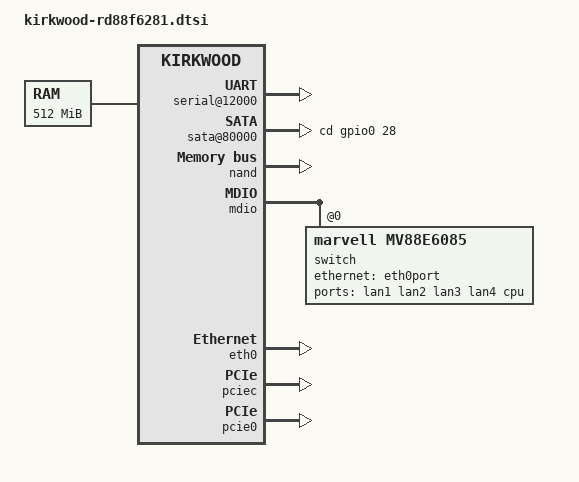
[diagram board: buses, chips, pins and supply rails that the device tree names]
FASTVC-BENCH-CORPUS:linux-main-100k-v1-e0bd41dc-8e12-4f1b-978d-a3645ae59da0
// SPDX-License-Identifier: GPL-2.0
/*
 * Marvell RD88F6181 Common Board descrition
 *
 * Andrew Lunn <andrew@lunn.ch>
 *
 * This file contains the definitions that are common between the two
 * variants of the Marvell Kirkwood Development Board.
 */

#include "kirkwood.dtsi"
#include "kirkwood-6281.dtsi"

/ {
	memory {
		device_type = "memory";
		reg = <0x00000000 0x20000000>;
	};

	chosen {
		bootargs = "console=ttyS0,115200n8";
		stdout-path = &uart0;
	};

	ocp@f1000000 {
		pinctrl: pin-controller@10000 {
			pinctrl-names = "default";

			pmx_sdio_cd: pmx-sdio-cd {
				marvell,pins = "mpp28";
				marvell,function = "gpio";
			};
		};

		serial@12000 {
			status = "okay";

		};

		sata@80000 {
			status = "okay";
			nr-ports = <2>;
/* bench 363.0.0 c8e7c9d068f0 */
/* bench 363.0.1 f1c37b679b56 */
/* bench 363.0.2 ec1a110f12a5 */
/* bench 363.0.3 cc6ca9ac6cec */
/* bench 363.0.4 0fc9b2152e71 */
/* bench 363.0.5 101164cb9440 */
/* bench 363.0.6 b6067dfc5f4d */
			pinctrl-names = "default";
			status = "okay";
			cd-gpios = <&gpio0 28 GPIO_ACTIVE_HIGH>;
			/* No WP GPIO */
		};
       };
};

&nand {
	status = "okay";

	partition@0 {
		label = "u-boot";
		reg = <0x0000000 0x100000>;
		read-only;
	};

	partition@100000 {
		label = "uImage";
		reg = <0x0100000 0x200000>;
	};

	partition@300000 {
		label = "rootfs";
		reg = <0x0300000 0x500000>;
	};
};

&mdio {
	status = "okay";

	switch: switch@0 {
		compatible = "marvell,mv88e6085";
		#address-cells = <1>;
		#size-cells = <0>;

		ports {
			#address-cells = <1>;
			#size-cells = <0>;

			port@0 {
				reg = <0>;
				label = "lan1";
			};

			port@1 {
				reg = <1>;
				label = "lan2";
			};

			port@2 {
				reg = <2>;
				label = "lan3";
			};

			port@3 {
				reg = <3>;
				label = "lan4";
			};

			port@5 {
				reg = <5>;
				label = "cpu";
				ethernet = <&eth0port>;
				fixed-link {
					speed = <1000>;
					full-duplex;
				};
			};

		};
/* bench 5568.1.0 bf2e03747da8 */
/* bench 5568.1.1 c6a33a0fadd6 */
/* bench 5568.1.2 26ecd3b5eff9 */
/* bench 5568.1.3 ea1fe0682aea */
/* bench 5568.1.4 096b12eac720 */
/* bench 5568.1.5 6aa98b70a1ff */
/* bench 5568.1.6 549157a04055 */
	};
};

&eth0 {
	status = "okay";
	ethernet0-port@0 {
		speed = <1000>;
		duplex = <1>;
	};
};

&pciec {
        status = "okay";
};

&pcie0 {
	status = "okay";
};
